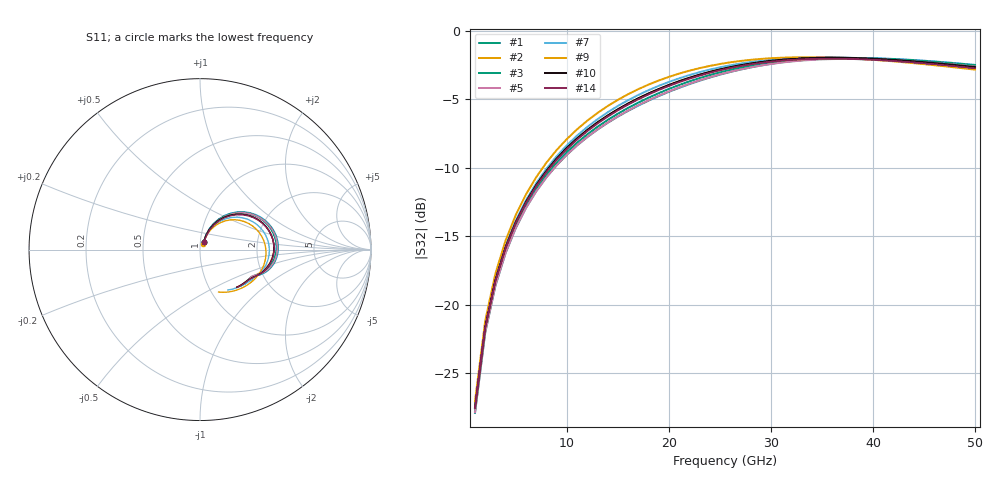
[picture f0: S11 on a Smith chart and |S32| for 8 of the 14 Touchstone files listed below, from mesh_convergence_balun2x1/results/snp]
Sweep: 1 GHz to 50 GHz
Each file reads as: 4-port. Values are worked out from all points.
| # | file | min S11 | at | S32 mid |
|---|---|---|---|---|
| 1 | balun2x1_amr2_final.s4p | -26.1 dB | 1 GHz | -3.0 dB at 26 GHz |
| 2 | balun2x1_amr2_iter1.s4p | -26.4 dB | 1 GHz | -2.6 dB at 26 GHz |
| 3 | balun2x1_amr2_iter2.s4p | -26.2 dB | 1 GHz | -2.8 dB at 26 GHz |
| 4 | balun2x1_auto_mesh2.s4p | -26.2 dB | 1 GHz | -2.9 dB at 26 GHz |
| 5 | balun2x1_filled_mesh2.s4p | -25.8 dB | 1 GHz | -3.0 dB at 26 GHz |
| 6 | balun2x1_mesh1.s4p | -26.1 dB | 1 GHz | -3.0 dB at 26 GHz |
| 7 | balun2x1_mesh1_order1.s4p | -27.4 dB | 1 GHz | -2.5 dB at 26 GHz |
| 8 | balun2x1_mesh2.s4p | -26.1 dB | 1 GHz | -2.9 dB at 26 GHz |
| 9 | balun2x1_mesh2_order1.s4p | -27.9 dB | 1 GHz | -2.3 dB at 26 GHz |
| 10 | balun2x1_mesh5.s4p | -26.5 dB | 1 GHz | -2.6 dB at 26 GHz |
| 11 | balun2x1_mesh5_order1.s4p | -30.0 dB | 1 GHz | -1.9 dB at 26 GHz |
| 12 | balun2x1_skin_mesh1.s4p | -25.8 dB | 1 GHz | -3.0 dB at 26 GHz |
| 13 | balun2x1_skin_mesh2.s4p | -25.8 dB | 1 GHz | -3.0 dB at 26 GHz |
| 14 | balun2x1_skin_mesh5.s4p | -26.1 dB | 1 GHz | -2.7 dB at 26 GHz |
